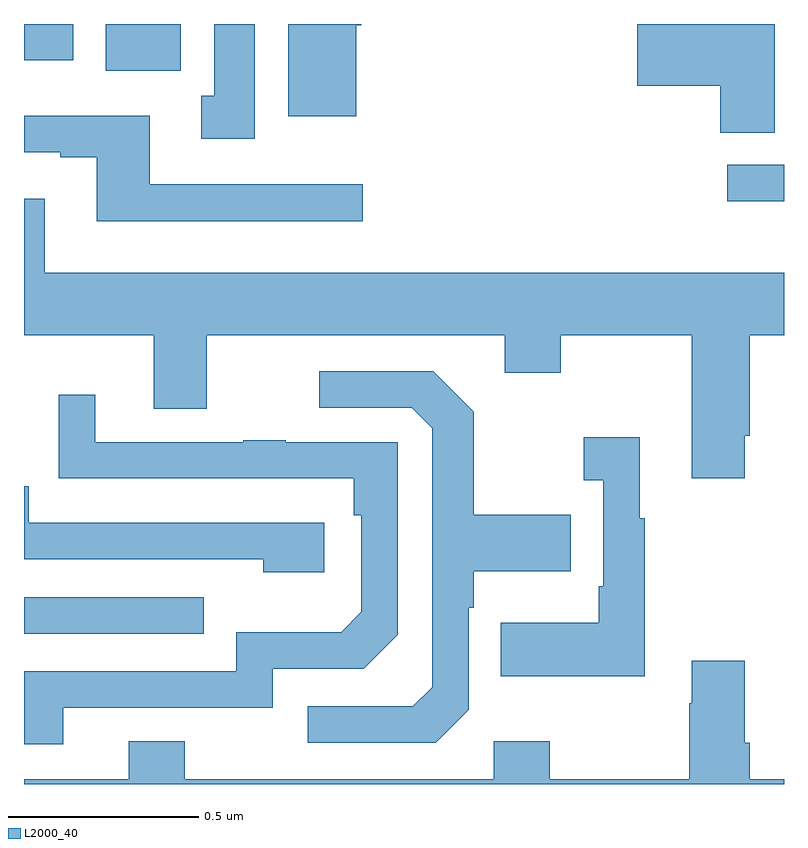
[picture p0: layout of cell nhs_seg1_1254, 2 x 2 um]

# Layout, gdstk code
import gdstk
lib = gdstk.Library(unit=1e-6, precision=1e-09)
def R(c, l, rs):  # rectangles x0, y0, x1, y1
    for r in rs: c.add(gdstk.rectangle(r[:2], r[2:], *l))
def P(c, l, *ps):  # polygons
    for p in ps: c.add(gdstk.Polygon(p, *l))
L2000_40 = (2000, 40)

nhs_seg1_1254 = lib.new_cell('nhs_seg1_1254')
R(nhs_seg1_1254, L2000_40, [(126,569.595,126.473,569.691), (127.851,570.732,128,570.828), (126.215,571.076,126.412,571.199), (126,571.104,126.13,571.199)])
P(nhs_seg1_1254, L2000_40, [(126.607,571.199),(126.5,571.199),(126.5,571.01),(126.467,571.01),(126.467,570.897),(126.607,570.897)],
  [(126.874,571.196),(126.887,571.196),(126.887,571.199),(126.695,571.199),(126.695,570.956),(126.874,570.956)],
  [(127.975,571.199),(127.614,571.199),(127.614,571.037),(127.832,571.037),(127.832,570.913),(127.975,570.913)],
  [(126.892,570.777),(126.331,570.777),(126.331,570.958),(126,570.958),(126,570.861),(126.095,570.861),(126.095,570.849),(126.191,570.849),(126.191,570.68),(126.892,570.68)],
  [(127.897,570.115),(127.91,570.115),(127.91,570.38),(128,570.38),(128,570.544),(126.055,570.544),(126.055,570.739),(126,570.739),(126,570.38),(126.341,570.38),(126.341,570.186),(126.481,570.186),(126.481,570.38),(127.265,570.38),(127.265,570.281),(127.413,570.281),(127.413,570.38),(127.757,570.38),(127.757,570.003),(127.897,570.003)],
  [(127.17,569.394),(127.17,569.663),(127.183,569.663),(127.183,569.759),(127.439,569.759),(127.439,569.907),(127.183,569.907),(127.183,570.179),(127.077,570.285),(126.777,570.285),(126.777,570.189),(127.02,570.189),(127.074,570.135),(127.074,569.454),(127.023,569.403),(126.747,569.403),(126.747,569.307),(127.083,569.307)],
  [(126.103,569.4),(126.654,569.4),(126.654,569.502),(126.894,569.502),(126.984,569.592),(126.984,570.099),(126.689,570.099),(126.689,570.104),(126.577,570.104),(126.577,570.099),(126.187,570.099),(126.187,570.223),(126.091,570.223),(126.091,570.004),(126.193,570.004),(126.193,570.003),(126.868,570.003),(126.868,569.906),(126.888,569.906),(126.888,569.652),(126.835,569.599),(126.558,569.599),(126.558,569.496),(126,569.496),(126,569.304),(126.103,569.304)],
  [(127.633,569.899),(127.621,569.899),(127.621,570.112),(127.473,570.112),(127.473,569.999),(127.524,569.999),(127.524,569.719),(127.512,569.719),(127.512,569.623),(127.255,569.623),(127.255,569.483),(127.633,569.483)],
  [(126.79,569.886),(126.013,569.886),(126.013,569.983),(126,569.983),(126,569.79),(126.629,569.79),(126.629,569.756),(126.79,569.756)],
  [(128,569.212),(127.91,569.212),(127.91,569.308),(127.897,569.308),(127.897,569.524),(127.757,569.524),(127.757,569.411),(127.75,569.411),(127.75,569.212),(127.383,569.212),(127.383,569.311),(127.236,569.311),(127.236,569.212),(126.423,569.212),(126.423,569.311),(126.275,569.311),(126.275,569.212),(126,569.212),(126,569.199),(128,569.199)])

lib.write_gds('nhs_seg1_1254.gds')
